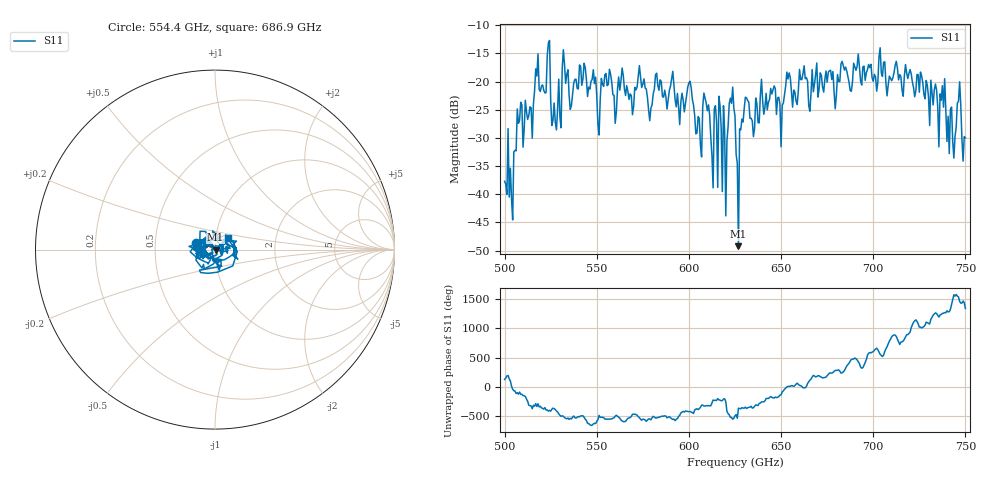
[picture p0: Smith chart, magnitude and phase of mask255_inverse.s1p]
!Created with skrf (http://scikit-rf.org).
# GHz S MA R 50.0
!freq magS11 angS11
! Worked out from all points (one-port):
!   401 points, 500 GHz to 750 GHz, reference 50 ohm
!   lowest |S11| = -49.2 dB at 626.9 GHz (marker M1), VSWR 1.01, Z = 50.3 - j0.0709 ohm
!   |S11| at or under -10 dB: start of sweep to end of sweep
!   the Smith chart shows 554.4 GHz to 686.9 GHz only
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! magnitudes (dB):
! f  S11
! 500 GHz  -37.7
! 503.8 GHz  -40.8
! 508.1 GHz  -26.9
! 513.8 GHz  -24.5
! 517.5 GHz  -19.0
! 523.8 GHz  -13.2
! 526.9 GHz  -23.8
! 531.2 GHz  -17.8
! 562.5 GHz  -21.5
! 593.8 GHz  -22.1
! 600.6 GHz  -20.0
! 605.6 GHz  -26.5
! 609.4 GHz  -23.8
! 611.9 GHz  -30.0
! 617.5 GHz  -28.2
! 619.4 GHz  -28.8
! 623.1 GHz  -23.9
! 625 GHz  -26.1
! 626.9 GHz  -49.2
! 631.2 GHz  -22.9
! 634.4 GHz  -27.0
! 656.2 GHz  -24.5
! 687.5 GHz  -21.6
! 718.8 GHz  -19.5
! 737.5 GHz  -20.7
! 742.5 GHz  -24.5
! 746.2 GHz  -23.5
! 750 GHz  -30.0
